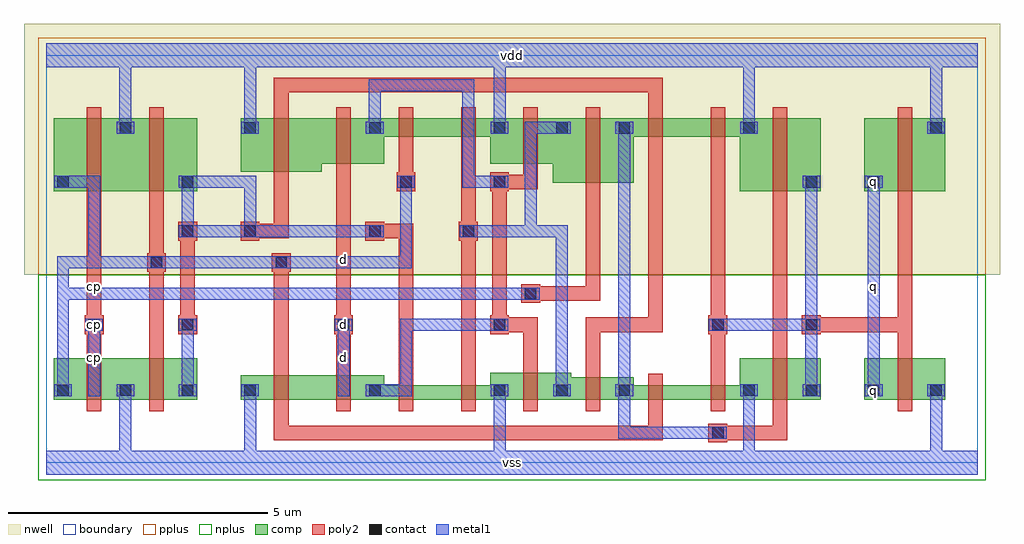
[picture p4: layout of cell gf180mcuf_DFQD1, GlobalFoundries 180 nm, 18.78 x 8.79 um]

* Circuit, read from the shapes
.subckt gf180mcuf_DFQD1 cp d q vdd vss
XM1 vss cp n1 VSUBS nfet_03v3 w=0.8u l=0.28u
XM2 n2 n1 vss VSUBS nfet_03v3 w=0.8u l=0.28u
XM3 n3 n1 vss VSUBS nfet_03v3 w=0.465u l=0.28u
XM4 n4 d n3 VSUBS nfet_03v3 w=0.465u l=0.28u
XM5 n5 n2 n4 VSUBS nfet_03v3 w=0.28u l=0.28u
XM6 vss n6 n5 VSUBS nfet_03v3 w=0.28u l=0.28u
XM7 n6 n4 vss VSUBS nfet_03v3 w=0.52u l=0.28u
XM8 n7 n2 n6 VSUBS nfet_03v3 w=0.43u l=0.28u
XM9 n8 n1 n7 VSUBS nfet_03v3 w=0.28u l=0.28u
XM10 vss n9 n8 VSUBS nfet_03v3 w=0.28u l=0.28u
XM11 n9 n7 vss VSUBS nfet_03v3 w=0.8u l=0.28u
XM12 vss n9 q VSUBS nfet_03v3 w=0.8u l=0.28u
XM13 vdd cp n1 n10 pfet_03v3 w=1.4u l=0.28u
XM14 n2 n1 vdd n10 pfet_03v3 w=1.4u l=0.28u
XM15 n11 n2 vdd n10 pfet_03v3 w=1.03u l=0.28u
XM16 n4 d n11 n10 pfet_03v3 w=0.875u l=0.28u
XM17 n12 n1 n4 n10 pfet_03v3 w=0.355u l=0.28u
XM18 vdd n6 n12 n10 pfet_03v3 w=0.355u l=0.28u
XM19 n6 n4 vdd n10 pfet_03v3 w=0.875u l=0.28u
XM20 n7 n1 n6 n10 pfet_03v3 w=1.24u l=0.28u
XM21 n13 n2 n7 n10 pfet_03v3 w=0.355u l=0.28u
XM22 vdd n9 n13 n10 pfet_03v3 w=0.355u l=0.28u
XM23 n9 n7 vdd n10 pfet_03v3 w=1.4u l=0.28u
XM24 vdd n9 q n10 pfet_03v3 w=1.4u l=0.28u
.ends

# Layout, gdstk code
import gdstk
lib = gdstk.Library(unit=1e-6, precision=1e-09)
def R(c, l, rs):  # rectangles x0, y0, x1, y1
    for r in rs: c.add(gdstk.rectangle(r[:2], r[2:], *l))
def A(c, l, x, y, w, h, nx, ny, dx, dy):  # array of equal rectangles
    R(c, l, [(x+i*dx, y+j*dy, x+i*dx+w, y+j*dy+h) for i in range(nx) for j in range(ny)])
boundary = (0, 0)
nwell = (21, 0)
comp = (22, 0)
poly2 = (30, 0)
pplus = (31, 0)
nplus = (32, 0)
contact = (33, 0)
metal1 = (34, 0)

gf180mcuf_dfqd1 = lib.new_cell('gf180mcuf_DFQD1')
R(gf180mcuf_dfqd1, boundary, [(0,0,17.92,7.84)])
R(gf180mcuf_dfqd1, nwell, [(-0.43,3.62,18.35,8.45)])
A(gf180mcuf_dfqd1, comp, 0.14, 1.215, 0.36, 0.36, 4, 1, 1.2, 0)
A(gf180mcuf_dfqd1, comp, 8.54, 1.215, 0.36, 0.36, 3, 1, 1.2, 0)
A(gf180mcuf_dfqd1, comp, 13.34, 1.215, 0.36, 0.36, 4, 1, 1.2, 0)
A(gf180mcuf_dfqd1, comp, 1.34, 6.265, 0.36, 0.36, 4, 1, 2.4, 0)
R(gf180mcuf_dfqd1, comp, [(0.14,1.215,1.7,2.015), (1.34,1.215,2.9,2.015), (3.74,1.215,5.3,1.68), (4.94,1.215,6.5,1.68), (6.14,1.215,7.7,1.495), (6.14,1.215,6.5,1.575), (7.34,1.215,8.9,1.495), (8.54,1.215,10.1,1.735), (9.74,1.215,11.3,1.645), (10.94,1.215,12.5,1.495), (12.14,1.215,13.7,1.495), (13.34,1.215,14.9,2.015), (15.74,1.215,17.3,2.015), (0.14,5.225,1.7,6.625), (0.14,5.225,0.5,5.585), (1.34,5.225,2.9,6.625), (2.54,5.225,2.9,5.585), (13.34,5.225,14.9,6.625), (14.54,5.225,14.9,5.585), (15.74,5.225,17.3,6.625), (15.74,5.225,16.1,5.585), (9.74,5.385,11.3,6.625), (3.74,5.595,5.3,6.625), (4.94,5.75,6.5,6.625), (8.54,5.75,10.1,6.625), (9.74,6.265,10.1,6.625), (10.94,6.265,11.3,6.625), (13.34,6.265,13.7,6.625), (16.94,6.265,17.3,6.625), (6.14,6.27,7.7,6.625), (7.34,6.27,8.9,6.625), (10.94,6.27,12.5,6.625), (12.14,6.27,13.7,6.625)])
A(gf180mcuf_dfqd1, poly2, 2.54, 2.475, 0.36, 0.36, 3, 1, 3, 0)
R(gf180mcuf_dfqd1, poly2, [(12.74,0.395,13.1,0.755), (4.38,0.435,4.66,1.535), (4.38,0.435,11.86,0.715), (11.58,0.435,11.86,1.535), (12.78,0.435,14.26,0.715), (13.98,0.435,14.26,1.535), (0.78,0.995,1.06,2.235), (1.98,0.995,2.26,2.235), (4.38,0.995,4.66,1.9), (5.58,0.995,5.86,1.9), (6.78,0.995,7.06,1.715), (7.98,0.995,8.26,1.715), (9.18,0.995,9.46,1.955), (10.38,0.995,10.66,1.865), (11.58,0.995,11.86,1.715), (12.78,0.995,13.06,1.715), (13.98,0.995,14.26,2.235), (16.38,0.995,16.66,2.235), (0.78,1.255,1.06,5.545), (1.98,1.255,2.26,5.545), (4.38,1.255,4.66,3.995), (5.58,1.255,5.86,6.585), (6.78,1.255,7.06,4.595), (7.98,1.255,8.26,4.595), (9.18,1.255,9.46,2.795), (10.38,1.255,10.66,2.795), (12.78,1.255,13.06,2.795), (12.78,1.255,13.06,2.795), (13.98,1.255,14.26,5.545), (16.38,1.255,16.66,2.795), (0.74,2.475,1.1,2.835), (12.74,2.475,13.1,2.835), (12.74,2.475,13.1,2.835), (14.54,2.475,14.9,2.835), (14.54,2.475,14.9,2.835), (2.58,2.515,2.86,4.595), (8.58,2.515,9.46,2.795), (8.58,2.515,8.86,5.545), (10.38,2.515,11.86,2.795), (11.58,2.515,11.86,6.585), (12.78,2.515,13.06,6.585), (14.58,2.515,16.66,2.795), (14.58,2.515,16.66,2.795), (16.38,2.515,16.66,5.545), (9.14,3.075,9.5,3.435), (9.18,3.115,10.66,3.395), (10.38,3.115,10.66,6.585), (1.94,3.675,2.3,4.035), (4.34,3.675,4.7,4.035), (2.54,4.275,2.9,4.635), (3.74,4.275,4.1,4.635), (6.14,4.275,6.5,4.635), (7.94,4.275,8.3,4.635), (3.78,4.315,4.66,4.595), (4.38,4.315,4.66,6.585), (6.18,4.315,7.06,4.595), (7.98,4.315,8.26,6.585), (0.78,5.005,1.06,6.845), (1.98,5.005,2.26,6.845), (13.98,5.005,14.26,6.845), (16.38,5.005,16.66,6.845), (10.38,5.165,10.66,6.845), (6.74,5.225,7.1,5.585), (8.54,5.225,8.9,5.585), (6.78,5.265,7.06,6.585), (8.58,5.265,9.46,5.545), (9.18,5.265,9.46,6.585), (4.38,5.375,4.66,6.845), (5.58,5.53,5.86,6.845), (9.18,5.53,9.46,6.845), (6.78,6.05,7.06,6.845), (7.98,6.05,8.26,6.845), (11.58,6.05,11.86,6.845), (12.78,6.05,13.06,6.845), (4.38,6.305,4.66,7.405), (11.58,6.305,11.86,7.405), (4.38,7.125,11.86,7.405)])
R(gf180mcuf_dfqd1, pplus, [(-0.16,3.62,18.08,7.5), (-0.16,7.5,18.08,8.18)])
R(gf180mcuf_dfqd1, nplus, [(-0.16,-0.34,18.08,0.34), (-0.16,0.34,18.08,3.62)])
A(gf180mcuf_dfqd1, contact, 0.21, 1.285, 0.22, 0.22, 4, 1, 1.2, 0)
A(gf180mcuf_dfqd1, contact, 8.61, 1.285, 0.22, 0.22, 3, 1, 1.2, 0)
A(gf180mcuf_dfqd1, contact, 13.41, 1.285, 0.22, 0.22, 4, 1, 1.2, 0)
A(gf180mcuf_dfqd1, contact, 2.61, 2.545, 0.22, 0.22, 3, 1, 3, 0)
A(gf180mcuf_dfqd1, contact, 1.41, 6.335, 0.22, 0.22, 4, 1, 2.4, 0)
R(gf180mcuf_dfqd1, contact, [(12.81,0.465,13.03,0.685), (6.21,1.285,6.43,1.505), (0.81,2.545,1.03,2.765), (12.81,2.545,13.03,2.765), (12.81,2.545,13.03,2.765), (14.61,2.545,14.83,2.765), (14.61,2.545,14.83,2.765), (9.21,3.145,9.43,3.365), (2.01,3.745,2.23,3.965), (4.41,3.745,4.63,3.965), (2.61,4.345,2.83,4.565), (3.81,4.345,4.03,4.565), (6.21,4.345,6.43,4.565), (8.01,4.345,8.23,4.565), (0.21,5.295,0.43,5.515), (2.61,5.295,2.83,5.515), (6.81,5.295,7.03,5.515), (8.61,5.295,8.83,5.515), (14.61,5.295,14.83,5.515), (15.81,5.295,16.03,5.515), (9.81,6.335,10.03,6.555), (11.01,6.335,11.23,6.555), (13.41,6.335,13.63,6.555), (17.01,6.335,17.23,6.555)])
A(gf180mcuf_dfqd1, metal1, 3.805, 0.065, 0.23, 1.445, 3, 2, 4.8, 6.265)
A(gf180mcuf_dfqd1, metal1, 0.15, 1.28, 0.34, 0.23, 4, 1, 1.2, 0)
A(gf180mcuf_dfqd1, metal1, 8.55, 1.28, 0.34, 0.23, 3, 1, 1.2, 0)
A(gf180mcuf_dfqd1, metal1, 13.35, 1.28, 0.34, 0.23, 4, 1, 1.2, 0)
A(gf180mcuf_dfqd1, metal1, 2.55, 2.54, 0.34, 0.23, 3, 1, 3, 0)
A(gf180mcuf_dfqd1, metal1, 1.35, 6.33, 0.34, 0.23, 4, 1, 2.4, 0)
R(gf180mcuf_dfqd1, metal1, [(0,-0.23,17.92,0.23), (1.405,0.065,1.635,1.51), (17.005,0.065,17.235,1.51), (11.005,0.46,11.235,1.51), (11.005,0.46,13.035,0.69), (12.75,0.46,13.09,0.69), (0.205,1.28,0.435,3.97), (0.805,1.28,1.035,2.77), (2.605,1.28,2.835,2.77), (5.605,1.28,5.835,2.77), (6.15,1.28,6.49,1.51), (6.205,1.28,7.035,1.51), (6.805,1.28,7.035,2.77), (9.805,1.28,10.035,4.57), (11.005,1.28,11.235,6.56), (14.605,1.28,14.835,2.77), (14.605,1.28,14.835,2.77), (15.805,1.28,16.035,5.52), (0.75,2.54,1.09,2.77), (6.805,2.54,8.835,2.77), (12.75,2.54,13.09,2.77), (12.75,2.54,13.09,2.77), (12.805,2.54,14.835,2.77), (12.805,2.54,14.835,2.77), (14.005,2.54,14.835,2.77), (14.55,2.54,14.89,2.77), (14.55,2.54,14.89,2.77), (14.605,2.54,14.835,5.52), (0.205,3.14,9.435,3.37), (9.15,3.14,9.49,3.37), (0.205,3.74,1.035,3.97), (0.805,3.74,4.635,3.97), (0.805,3.74,1.035,5.52), (1.95,3.74,2.29,3.97), (4.35,3.74,4.69,3.97), (4.405,3.74,7.035,3.97), (6.805,3.74,7.035,5.52), (2.55,4.34,2.89,4.57), (2.605,4.34,6.435,4.57), (2.605,4.34,2.835,5.52), (3.75,4.34,4.09,4.57), (3.805,4.34,4.035,5.52), (6.15,4.34,6.49,4.57), (7.95,4.34,8.29,4.57), (8.005,4.34,9.435,4.57), (9.205,4.34,10.035,4.57), (9.205,4.34,9.435,6.56), (0.15,5.29,0.49,5.52), (0.205,5.29,1.035,5.52), (2.55,5.29,2.89,5.52), (2.605,5.29,4.035,5.52), (6.75,5.29,7.09,5.52), (8.005,5.29,8.835,5.52), (8.005,5.29,8.235,7.38), (8.55,5.29,8.89,5.52), (14.55,5.29,14.89,5.52), (15.75,5.29,16.09,5.52), (1.405,6.33,1.635,7.775), (6.205,6.33,6.435,7.38), (9.205,6.33,10.035,6.56), (9.75,6.33,10.09,6.56), (10.95,6.33,11.29,6.56), (13.35,6.33,13.69,6.56), (16.95,6.33,17.29,6.56), (17.005,6.33,17.235,7.775), (6.205,7.15,8.235,7.38), (0,7.61,17.92,8.07)])
gf180mcuf_dfqd1.add(gdstk.FlexPath([(0.14,0.575),(17.3,0.575)], 0, ends="flush", simple_path=True, layer=0, datatype=0))  # boundary
gf180mcuf_dfqd1.add(gdstk.FlexPath([(0.14,1.395),(17.3,1.395)], 0, ends="flush", simple_path=True, layer=0, datatype=0))  # boundary
gf180mcuf_dfqd1.add(gdstk.FlexPath([(0.14,2.655),(17.3,2.655)], 0, ends="flush", simple_path=True, layer=0, datatype=0))  # boundary
gf180mcuf_dfqd1.add(gdstk.FlexPath([(0.14,3.255),(17.3,3.255)], 0, ends="flush", simple_path=True, layer=0, datatype=0))  # boundary
gf180mcuf_dfqd1.add(gdstk.FlexPath([(0.14,3.855),(17.3,3.855)], 0, ends="flush", simple_path=True, layer=0, datatype=0))  # boundary
gf180mcuf_dfqd1.add(gdstk.FlexPath([(0.14,4.455),(17.3,4.455)], 0, ends="flush", simple_path=True, layer=0, datatype=0))  # boundary
gf180mcuf_dfqd1.add(gdstk.FlexPath([(0.14,5.405),(17.3,5.405)], 0, ends="flush", simple_path=True, layer=0, datatype=0))  # boundary
gf180mcuf_dfqd1.add(gdstk.FlexPath([(0.14,6.445),(17.3,6.445)], 0, ends="flush", simple_path=True, layer=0, datatype=0))  # boundary
gf180mcuf_dfqd1.add(gdstk.FlexPath([(0.14,7.265),(17.3,7.265)], 0, ends="flush", simple_path=True, layer=0, datatype=0))  # boundary
gf180mcuf_dfqd1.add(gdstk.FlexPath([(0.32,0.065),(0.32,7.775)], 0, ends="flush", simple_path=True, layer=0, datatype=0))  # boundary
gf180mcuf_dfqd1.add(gdstk.FlexPath([(0.92,0.065),(0.92,7.775)], 0, ends="flush", simple_path=True, layer=0, datatype=0))  # boundary
gf180mcuf_dfqd1.add(gdstk.FlexPath([(1.52,0.065),(1.52,7.775)], 0, ends="flush", simple_path=True, layer=0, datatype=0))  # boundary
gf180mcuf_dfqd1.add(gdstk.FlexPath([(2.12,0.065),(2.12,7.775)], 0, ends="flush", simple_path=True, layer=0, datatype=0))  # boundary
gf180mcuf_dfqd1.add(gdstk.FlexPath([(2.72,0.065),(2.72,7.775)], 0, ends="flush", simple_path=True, layer=0, datatype=0))  # boundary
gf180mcuf_dfqd1.add(gdstk.FlexPath([(3.32,0.065),(3.32,7.775)], 0, ends="flush", simple_path=True, layer=0, datatype=0))  # boundary
gf180mcuf_dfqd1.add(gdstk.FlexPath([(3.92,0.065),(3.92,7.775)], 0, ends="flush", simple_path=True, layer=0, datatype=0))  # boundary
gf180mcuf_dfqd1.add(gdstk.FlexPath([(4.52,0.065),(4.52,7.775)], 0, ends="flush", simple_path=True, layer=0, datatype=0))  # boundary
gf180mcuf_dfqd1.add(gdstk.FlexPath([(5.12,0.065),(5.12,7.775)], 0, ends="flush", simple_path=True, layer=0, datatype=0))  # boundary
gf180mcuf_dfqd1.add(gdstk.FlexPath([(5.72,0.065),(5.72,7.775)], 0, ends="flush", simple_path=True, layer=0, datatype=0))  # boundary
gf180mcuf_dfqd1.add(gdstk.FlexPath([(6.32,0.065),(6.32,7.775)], 0, ends="flush", simple_path=True, layer=0, datatype=0))  # boundary
gf180mcuf_dfqd1.add(gdstk.FlexPath([(6.92,0.065),(6.92,7.775)], 0, ends="flush", simple_path=True, layer=0, datatype=0))  # boundary
gf180mcuf_dfqd1.add(gdstk.FlexPath([(7.52,0.065),(7.52,7.775)], 0, ends="flush", simple_path=True, layer=0, datatype=0))  # boundary
gf180mcuf_dfqd1.add(gdstk.FlexPath([(8.12,0.065),(8.12,7.775)], 0, ends="flush", simple_path=True, layer=0, datatype=0))  # boundary
gf180mcuf_dfqd1.add(gdstk.FlexPath([(8.72,0.065),(8.72,7.775)], 0, ends="flush", simple_path=True, layer=0, datatype=0))  # boundary
gf180mcuf_dfqd1.add(gdstk.FlexPath([(9.32,0.065),(9.32,7.775)], 0, ends="flush", simple_path=True, layer=0, datatype=0))  # boundary
gf180mcuf_dfqd1.add(gdstk.FlexPath([(9.92,0.065),(9.92,7.775)], 0, ends="flush", simple_path=True, layer=0, datatype=0))  # boundary
gf180mcuf_dfqd1.add(gdstk.FlexPath([(10.52,0.065),(10.52,7.775)], 0, ends="flush", simple_path=True, layer=0, datatype=0))  # boundary
gf180mcuf_dfqd1.add(gdstk.FlexPath([(11.12,0.065),(11.12,7.775)], 0, ends="flush", simple_path=True, layer=0, datatype=0))  # boundary
gf180mcuf_dfqd1.add(gdstk.FlexPath([(11.72,0.065),(11.72,7.775)], 0, ends="flush", simple_path=True, layer=0, datatype=0))  # boundary
gf180mcuf_dfqd1.add(gdstk.FlexPath([(12.32,0.065),(12.32,7.775)], 0, ends="flush", simple_path=True, layer=0, datatype=0))  # boundary
gf180mcuf_dfqd1.add(gdstk.FlexPath([(12.92,0.065),(12.92,7.775)], 0, ends="flush", simple_path=True, layer=0, datatype=0))  # boundary
gf180mcuf_dfqd1.add(gdstk.FlexPath([(13.52,0.065),(13.52,7.775)], 0, ends="flush", simple_path=True, layer=0, datatype=0))  # boundary
gf180mcuf_dfqd1.add(gdstk.FlexPath([(14.12,0.065),(14.12,7.775)], 0, ends="flush", simple_path=True, layer=0, datatype=0))  # boundary
gf180mcuf_dfqd1.add(gdstk.FlexPath([(14.72,0.065),(14.72,7.775)], 0, ends="flush", simple_path=True, layer=0, datatype=0))  # boundary
gf180mcuf_dfqd1.add(gdstk.FlexPath([(15.32,0.065),(15.32,7.775)], 0, ends="flush", simple_path=True, layer=0, datatype=0))  # boundary
gf180mcuf_dfqd1.add(gdstk.FlexPath([(15.92,0.065),(15.92,7.775)], 0, ends="flush", simple_path=True, layer=0, datatype=0))  # boundary
gf180mcuf_dfqd1.add(gdstk.FlexPath([(16.52,0.065),(16.52,7.775)], 0, ends="flush", simple_path=True, layer=0, datatype=0))  # boundary
gf180mcuf_dfqd1.add(gdstk.FlexPath([(17.12,0.065),(17.12,7.775)], 0, ends="flush", simple_path=True, layer=0, datatype=0))  # boundary
gf180mcuf_dfqd1.add(gdstk.Label('q', (15.92,1.395), layer=22, texttype=0))
gf180mcuf_dfqd1.add(gdstk.Label('q', (15.92,5.405), layer=22, texttype=0))
gf180mcuf_dfqd1.add(gdstk.Label('d', (5.72,3.92), layer=30, texttype=0))
gf180mcuf_dfqd1.add(gdstk.Label('d', (5.72,2.655), layer=30, texttype=0))
gf180mcuf_dfqd1.add(gdstk.Label('cp', (0.92,3.4), layer=30, texttype=0))
gf180mcuf_dfqd1.add(gdstk.Label('cp', (0.92,2.655), layer=30, texttype=0))
gf180mcuf_dfqd1.add(gdstk.Label('d', (5.72,2.655), layer=33, texttype=0))
gf180mcuf_dfqd1.add(gdstk.Label('cp', (0.92,2.655), layer=33, texttype=0))
gf180mcuf_dfqd1.add(gdstk.Label('q', (15.92,1.395), layer=33, texttype=0))
gf180mcuf_dfqd1.add(gdstk.Label('q', (15.92,5.405), layer=33, texttype=0))
gf180mcuf_dfqd1.add(gdstk.Label('d', (5.72,2.655), layer=34, texttype=10))
gf180mcuf_dfqd1.add(gdstk.Label('d', (5.72,2.025), layer=34, texttype=10))
gf180mcuf_dfqd1.add(gdstk.Label('cp', (0.92,2.655), layer=34, texttype=10))
gf180mcuf_dfqd1.add(gdstk.Label('cp', (0.92,2.025), layer=34, texttype=10))
gf180mcuf_dfqd1.add(gdstk.Label('q', (15.92,1.395), layer=34, texttype=10))
gf180mcuf_dfqd1.add(gdstk.Label('q', (15.92,5.405), layer=34, texttype=10))
gf180mcuf_dfqd1.add(gdstk.Label('q', (15.92,3.4), layer=34, texttype=10))
gf180mcuf_dfqd1.add(gdstk.Label('vss', (8.96,0), layer=34, texttype=10))
gf180mcuf_dfqd1.add(gdstk.Label('vdd', (8.96,7.84), layer=34, texttype=10))

lib.write_gds('gf180mcuf_DFQD1.gds')
